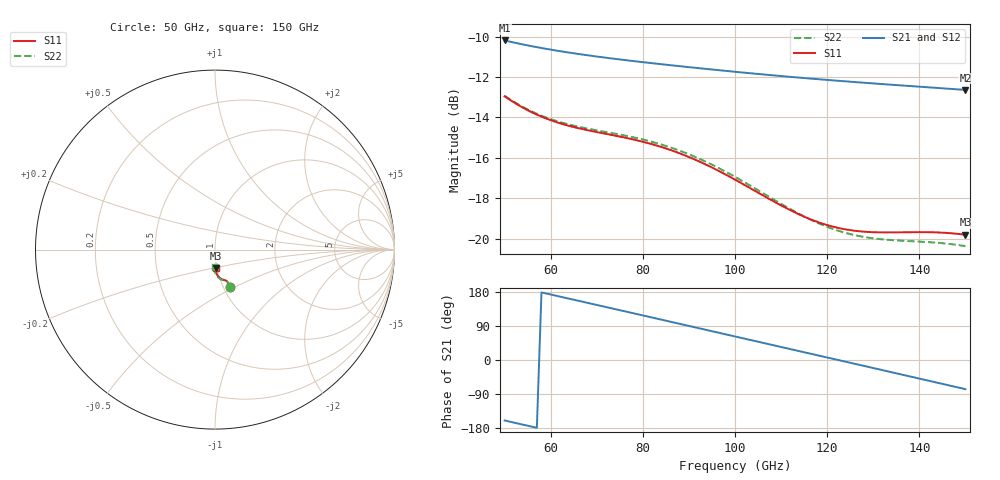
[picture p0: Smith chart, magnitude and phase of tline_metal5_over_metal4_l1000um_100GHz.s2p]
#  GHZ S DB R 50
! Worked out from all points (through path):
!   101 points, 50 GHz to 150 GHz, reference 50 ohm
!   highest |S21| = -10.19 dB at 50 GHz (marker M1); lowest = -12.6 dB at 150 GHz (marker M2)
!   group delay of S21, straight-line fit = 7.7 ps
!   lowest |S11| = -19.8 dB at 150 GHz (marker M3), VSWR 1.23, Z = 49.5 - j10.2 ohm
!   |S11| at or under -10 dB: start of sweep to end of sweep
!   |S22| runs from -20.4 to -12.9 dB; largest |S21 - S12| = 4.6e-14
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50  -12.95 -68.3  -10.19 -159.6  -10.19 -159.6  -12.93 -68.1
54  -13.52 -68.6  -10.39 -170.7  -10.39 -170.7  -13.48 -68.4
58  -13.96 -68.7  -10.57 178.3  -10.57 178.3  -13.91 -68.5
62  -14.28 -68.9  -10.72 167.3  -10.72 167.3  -14.23 -68.8
67  -14.58 -69.6  -10.89 153.6  -10.89 153.6  -14.50 -69.6
72  -14.81 -71.1  -11.05 139.8  -11.05 139.8  -14.72 -71.2
76  -14.99 -72.8  -11.16 128.7  -11.16 128.7  -14.89 -73.0
80  -15.20 -74.8  -11.27 117.6  -11.27 117.6  -15.09 -75.2
84  -15.46 -77.1  -11.37 106.6  -11.37 106.6  -15.33 -77.6
88  -15.77 -79.5  -11.46 95.4  -11.46 95.4  -15.64 -80.2
92  -16.15 -81.8  -11.56 84.3  -11.56 84.3  -16.01 -82.7
96  -16.59 -83.8  -11.65 73.2  -11.65 73.2  -16.45 -85.0
100  -17.07 -85.5  -11.74 62.1  -11.74 62.1  -16.93 -87.0
109  -18.22 -87.1  -11.93 37.1  -11.93 37.1  -18.13 -89.6
113  -18.69 -86.9  -12.01 26.0  -12.01 26.0  -18.65 -89.8
117  -19.09 -86.1  -12.09 14.9  -12.09 14.9  -19.11 -89.4
121  -19.38 -85.1  -12.16 3.8  -12.16 3.8  -19.49 -88.7
125  -19.57 -84.1  -12.23 -7.3  -12.23 -7.3  -19.76 -87.8
129  -19.66 -83.3  -12.30 -18.4  -12.30 -18.4  -19.94 -87.0
134  -19.68 -82.9  -12.38 -32.3  -12.38 -32.3  -20.06 -86.5
142  -19.67 -84.1  -12.51 -54.6  -12.51 -54.6  -20.16 -87.4
150  -19.80 -86.9  -12.64 -76.9  -12.64 -76.9  -20.36 -89.9
